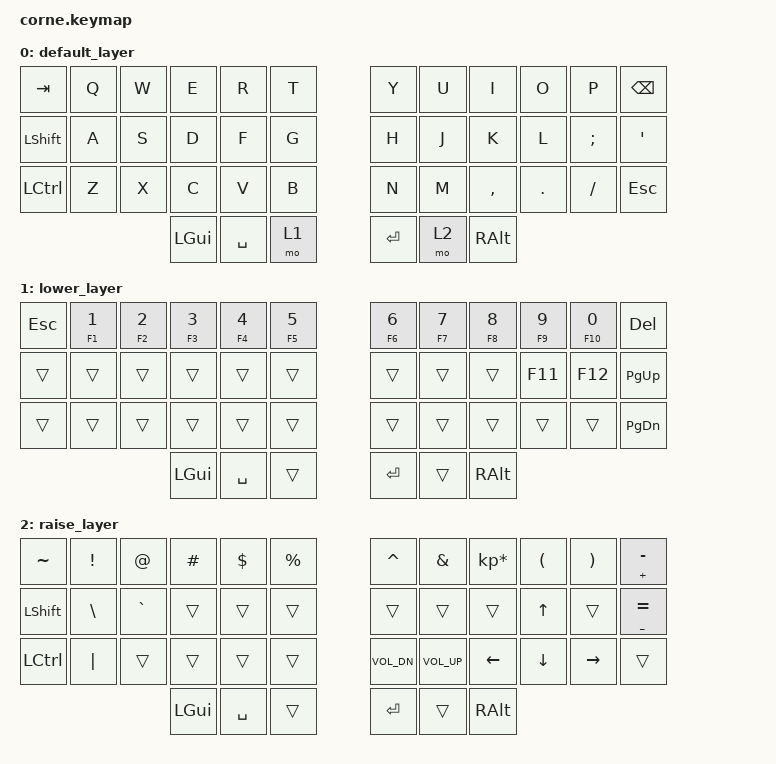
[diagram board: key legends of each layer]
/*
 * Copyright (c) 2020 The ZMK Contributors
 *
 * SPDX-License-Identifier: MIT
 */

#include <behaviors.dtsi>
#include <dt-bindings/zmk/keys.h>
#include <dt-bindings/zmk/bt.h>

/ {
        keymap {
                compatible = "zmk,keymap";

                default_layer {
// -----------------------------------------------------------------------------------------
// | TAB  |  Q  |  W  |  E  |  R  |  T  |       |  Y  |  U   |  I  |  O  |  P  | BKSP |
// | SHFT |  A  |  S  |  D  |  F  |  G  |       |  H  |  J   |  K  |  L  |  ;  |  '   |
// | CTRL |  Z  |  X  |  C  |  V  |  B  |       |  N  |  M   |  ,  |  .  |  /  |      |
//                    | GUI | SPC | LWR |       | ENT | RSE  | ALT |
                        bindings = <
   &kp TAB      &kp Q    &kp W    &kp E    &kp R    &kp T         &kp Y    &kp U     &kp I        &kp O      &kp P       &kp BSPC
   &kp LSHFT    &kp A    &kp S    &kp D    &kp F    &kp G         &kp H    &kp J     &kp K        &kp L      &kp SEMI    &kp SQT
   &kp LCTRL    &kp Z    &kp X    &kp C    &kp V    &kp B         &kp N    &kp M     &kp COMMA    &kp DOT    &kp FSLH    &kp ESC
                                  &kp LGUI &kp SPACE &mo 1        &kp RET  &mo 2     &kp RALT
                        >;
                };
                lower_layer {
// -----------------------------------------------------------------------------------------
// | ESC  | F 1 | F 2 | F 3 | F 4 | F 5 |       | F 6  | F 7| F 8 | F 9 | F1 0| DEL  |
// |      |     |     |     |     |     |       |     |     |     | F11 | F12 | PGUP |
// |      |     |     |     |     |     |       |     |     |     |     |     | PGDN |
//                    | GUI |     | SPC |       | ENT |     | ALT |
                        bindings = <
   &kp ESC    &mt F1 N1     &mt F2 N2  &mt F3 N3  &mt F4 N4  &mt F5 N5         &mt F6 N6  &mt F7 N7  &mt F8 N8  &mt F9 N9  &mt F10 N0  &kp DEL
   &trans     &trans  &trans     &trans     &trans     &trans                  &trans     &trans     &trans     &kp F11    &kp F12     &kp PG_UP
   &trans     &trans  &trans     &trans     &trans     &trans                  &trans     &trans     &trans     &trans     &trans      &kp PG_DN
                                 &kp LGUI   &kp SPACE  &trans                  &kp RET    &trans     &kp RALT
                        >;
                };

                raise_layer {
// -----------------------------------------------------------------------------------------
// | ~    |  !  |  @  |  #  |  $  |  %  |        |  ^  |  &  |  *  |  (  |  )  | - _ |
// | SHFT |  \  | `   |     |     |     |        |     |     |     |  UP |     | = + |
// | CTRL | "|" |     |     |     |     |        |VOLD | VOLU| LFT |  DN | RGT |     |
//                    | GUI |     | SPC |        | ENT |     | ALT |
                        bindings = <
   &kp TILDE &kp EXCL &kp AT  &kp HASH   &kp DLLR &kp PRCNT     &kp CARET &kp AMPS  &kp KP_MULTIPLY &kp LPAR &kp RPAR &mt PLUS MINUS
   &kp LSHFT &kp BSLH   &kp GRAVE  &trans &trans  &trans        &trans        &trans        &trans    &kp UP   &trans &mt UNDER EQUAL
   &kp LCTRL &kp PIPE   &trans  &trans     &trans   &trans      &kp C_VOL_DN  &kp C_VOL_UP  &kp LEFT  &kp DOWN &kp RIGHT &trans
                             &kp LGUI  &kp SPACE  &trans        &kp RET   &trans    &kp RALT
                        >;
                };
        };
};
